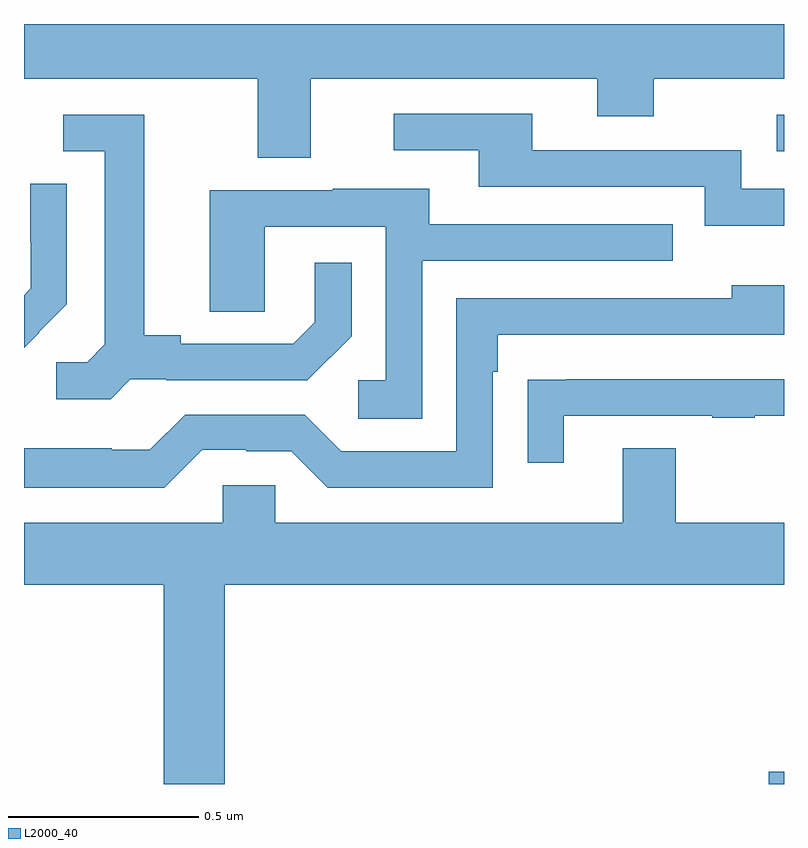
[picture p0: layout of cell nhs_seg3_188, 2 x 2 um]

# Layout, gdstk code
import gdstk
lib = gdstk.Library(unit=1e-6, precision=1e-09)
def R(c, l, rs):  # rectangles x0, y0, x1, y1
    for r in rs: c.add(gdstk.rectangle(r[:2], r[2:], *l))
def P(c, l, *ps):  # polygons
    for p in ps: c.add(gdstk.Polygon(p, *l))
L2000_40 = (2000, 40)

nhs_seg3_188 = lib.new_cell('nhs_seg3_188')
R(nhs_seg3_188, L2000_40, [(114.96,692.4,115,692.432), (114.981,694.065,115,694.161)])
P(nhs_seg3_188, L2000_40, [(113.755,694.256),(114.509,694.256),(114.509,694.157),(114.657,694.157),(114.657,694.256),(115,694.256),(115,694.4),(113,694.4),(113,694.256),(113.615,694.256),(113.615,694.048),(113.755,694.048)],
  [(115,693.966),(114.888,693.966),(114.888,694.068),(114.337,694.068),(114.337,694.164),(113.973,694.164),(113.973,694.068),(114.197,694.068),(114.197,693.972),(114.792,693.972),(114.792,693.869),(115,693.869)],
  [(113.28,693.465),(113.374,693.465),(113.374,693.462),(113.746,693.462),(113.862,693.578),(113.862,693.772),(113.765,693.772),(113.765,693.615),(113.708,693.558),(113.413,693.558),(113.413,693.581),(113.317,693.581),(113.317,694.161),(113.103,694.161),(113.103,694.065),(113.213,694.065),(113.213,693.557),(113.166,693.51),(113.085,693.51),(113.085,693.413),(113.228,693.413)],
  [(113.04,693.588),(113.039,693.589),(113.112,693.662),(113.112,693.98),(113.016,693.98),(113.016,693.826),(113.018,693.826),(113.018,693.704),(113,693.686),(113,693.548)],
  [(114.048,693.777),(114.707,693.777),(114.707,693.873),(114.067,693.873),(114.067,693.967),(113.813,693.967),(113.813,693.963),(113.489,693.963),(113.489,693.643),(113.634,693.643),(113.634,693.867),(113.952,693.867),(113.952,693.462),(113.88,693.462),(113.88,693.361),(114.048,693.361)],
  [(113.469,693.279),(113.585,693.279),(113.585,693.276),(113.703,693.276),(113.799,693.18),(114.234,693.18),(114.234,693.485),(114.247,693.485),(114.247,693.582),(115,693.582),(115,693.712),(114.863,693.712),(114.863,693.678),(114.138,693.678),(114.138,693.276),(113.835,693.276),(113.739,693.372),(113.424,693.372),(113.331,693.279),(113.231,693.279),(113.231,693.283),(113,693.283),(113,693.179),(113.369,693.179)],
  [(114.421,693.369),(114.811,693.369),(114.811,693.364),(114.923,693.364),(114.923,693.369),(115,693.369),(115,693.465),(114.427,693.465),(114.427,693.464),(114.325,693.464),(114.325,693.246),(114.421,693.246)],
  [(113.528,692.924),(115,692.924),(115,693.088),(114.715,693.088),(114.715,693.283),(114.575,693.283),(114.575,693.088),(113.661,693.088),(113.661,693.186),(113.523,693.186),(113.523,693.088),(113,693.088),(113,692.924),(113.368,692.924),(113.368,692.4),(113.528,692.4)])

lib.write_gds('nhs_seg3_188.gds')
